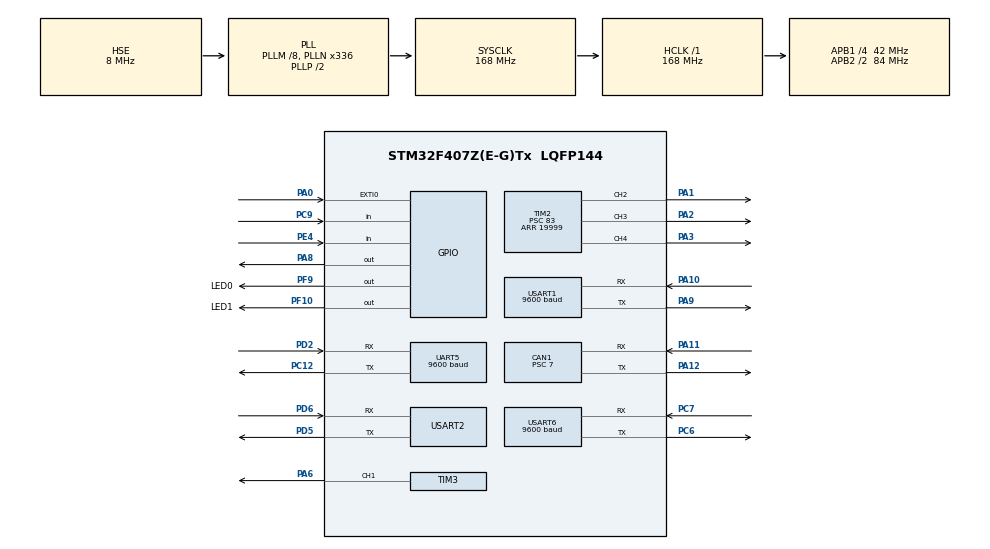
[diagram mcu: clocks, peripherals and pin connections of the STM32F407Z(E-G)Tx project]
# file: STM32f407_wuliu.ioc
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CAN1.BS1=CAN_BS1_9TQ
CAN1.BS2=CAN_BS2_2TQ
CAN1.CalculateBaudRate=499999
CAN1.CalculateTimeBit=2000
CAN1.CalculateTimeQuantum=166.66666666666669
CAN1.NART=ENABLE
CAN1.Prescaler=7
Mcu.Family=STM32F4
Mcu.Name=STM32F407Z(E-G)Tx
Mcu.Package=LQFP144
NVIC.CAN1_RX0_IRQn=true\:3\:0\:true\:false\:true\:true\:true\:true
NVIC.PriorityGroup=NVIC_PRIORITYGROUP_4
NVIC.TIM2_IRQn=true\:1\:0\:true\:false\:true\:true\:true\:true
NVIC.TIM4_IRQn=true\:0\:0\:false\:false\:true\:true\:true\:true
NVIC.TIM5_IRQn=true\:3\:0\:true\:false\:true\:true\:true\:true
NVIC.UART5_IRQn=true\:0\:0\:false\:false\:true\:true\:true\:true
NVIC.USART1_IRQn=true\:0\:0\:false\:false\:true\:true\:true\:true
NVIC.USART2_IRQn=true\:0\:0\:false\:false\:true\:true\:true\:true
NVIC.USART6_IRQn=true\:0\:0\:false\:false\:true\:true\:true\:true
PA0-WKUP.GPIO_PuPd=GPIO_PULLDOWN
PA0-WKUP.Signal=GPXTI0
PA1.Signal=S_TIM2_CH2
PA10.Mode=Asynchronous
PA10.Signal=USART1_RX
PA11.GPIO_PuPd=GPIO_PULLUP
PA11.Mode=CAN_Activate
PA11.Signal=CAN1_RX
PA12.Mode=CAN_Activate
PA12.Signal=CAN1_TX
PA13.Mode=Serial_Wire
PA13.Signal=SYS_JTMS-SWDIO
PA14.Mode=Serial_Wire
PA14.Signal=SYS_JTCK-SWCLK
PA2.Signal=S_TIM2_CH3
PA3.Signal=S_TIM2_CH4
PA6.Signal=S_TIM3_CH1
PA8.Signal=GPIO_Output
PA9.Mode=Asynchronous
PA9.Signal=USART1_TX
PC12.GPIO_PuPd=GPIO_PULLUP
PC12.Mode=Asynchronous
PC12.Signal=UART5_TX
PC6.GPIO_PuPd=GPIO_PULLUP
PC6.Mode=Asynchronous
PC6.Signal=USART6_TX
PC7.GPIO_PuPd=GPIO_PULLUP
PC7.Mode=Asynchronous
PC7.Signal=USART6_RX
PC9.GPIO_PuPd=GPIO_PULLUP
PC9.Signal=GPIO_Input
PD2.GPIO_PuPd=GPIO_PULLUP
PD2.Mode=Asynchronous
PD2.Signal=UART5_RX
PD5.GPIO_PuPd=GPIO_PULLUP
PD5.Mode=Asynchronous
PD5.Signal=USART2_TX
PD6.GPIO_PuPd=GPIO_PULLUP
PD6.Mode=Asynchronous
PD6.Signal=USART2_RX
PE4.Signal=GPIO_Input
PF10.GPIO_Label=LED1
PF10.GPIO_PuPd=GPIO_PULLUP
PF10.Signal=GPIO_Output
PF9.GPIO_Label=LED0
PF9.Signal=GPIO_Output
PH0-OSC_IN.Mode=HSE-External-Oscillator
PH0-OSC_IN.Signal=RCC_OSC_IN
PH1-OSC_OUT.Mode=HSE-External-Oscillator
PH1-OSC_OUT.Signal=RCC_OSC_OUT
ProjectManager.HeapSize=0x200
ProjectManager.StackSize=0x400
ProjectManager.TargetToolchain=CMake
RCC.48MHZClocksFreq_Value=84000000
RCC.AHBFreq_Value=168000000
RCC.APB1CLKDivider=RCC_HCLK_DIV4
RCC.APB1Freq_Value=42000000
RCC.APB1TimFreq_Value=84000000
RCC.APB2CLKDivider=RCC_HCLK_DIV2
RCC.APB2Freq_Value=84000000
RCC.APB2TimFreq_Value=168000000
RCC.CortexFreq_Value=168000000
RCC.EnbaleCSS=true
RCC.HCLKFreq_Value=168000000
RCC.HSE_VALUE=8000000
RCC.HSI_VALUE=16000000
RCC.LSE_VALUE=32768
RCC.PLLM=8
RCC.PLLN=336
RCC.PLLSourceVirtual=RCC_PLLSOURCE_HSE
RCC.SYSCLKFreq_VALUE=168000000
RCC.SYSCLKSource=RCC_SYSCLKSOURCE_PLLCLK
RCC.VCOOutputFreq_Value=336000000
SH.S_TIM2_CH2.0=TIM2_CH2,PWM Generation2 CH2
SH.S_TIM2_CH3.0=TIM2_CH3,PWM Generation3 CH3
SH.S_TIM2_CH4.0=TIM2_CH4,PWM Generation4 CH4
SH.S_TIM3_CH1.0=TIM3_CH1,PWM Generation1 CH1
TIM2.Channel-PWM\ Generation2\ CH2=TIM_CHANNEL_2
TIM2.Channel-PWM\ Generation3\ CH3=TIM_CHANNEL_3
TIM2.Channel-PWM\ Generation4\ CH4=TIM_CHANNEL_4
TIM2.Period=19999
TIM2.Prescaler=83
TIM2.Pulse-PWM\ Generation2\ CH2=520
TIM2.Pulse-PWM\ Generation3\ CH3=648
TIM2.Pulse-PWM\ Generation4\ CH4=838
TIM3.Channel-PWM\ Generation1\ CH1=TIM_CHANNEL_1
TIM3.Period=1999
TIM3.Prescaler=83
TIM4.Period=4999
TIM4.Prescaler=839
TIM5.Period=49999
TIM5.Prescaler=839
UART5.BaudRate=9600
UART5.VirtualMode=Asynchronous
USART1.BaudRate=9600
USART1.VirtualMode=VM_ASYNC
USART2.VirtualMode=VM_ASYNC
USART6.BaudRate=9600
USART6.VirtualMode=VM_ASYNC
VP_TIM2_VS_ClockSourceINT.Mode=Internal
VP_TIM3_VS_ClockSourceINT.Mode=Internal
VP_TIM4_VS_ClockSourceINT.Mode=Internal
VP_TIM5_VS_ClockSourceINT.Mode=Internal
VP_TIM6_VS_ClockSourceINT.Mode=Enable_Timer
board=custom

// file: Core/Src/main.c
/* USER CODE BEGIN Header */
/**
  ******************************************************************************
  * @file           : main.c
  * @brief          : Main program body
  ******************************************************************************
  * @attention
  *
  * Copyright (c) 2026 STMicroelectronics.
  * All rights reserved.
  *
  * This software is licensed under terms that can be found in the LICENSE file
  * in the root directory of this software component.
  * If no LICENSE file comes with this software, it is provided AS-IS.
  *
  ******************************************************************************
  */
/* USER CODE END Header */
#include "main.h"
#include "can.h"
#include "tim.h"
#include "usart.h"
#include "gpio.h"

/* USER CODE BEGIN Includes */
#include "host_proto.h"
#include "imu.h"
#include "motor_ack_test.h"
#include "race_chassis.h"
#include "race_io.h"
#include "race_task.h"
/* USER CODE END Includes */

void SystemClock_Config(void);

int main(void)
{

  /* MCU Configuration--------------------------------------------------------*/

  /* Reset of all peripherals, Initializes the Flash interface and the Systick. */
  HAL_Init();

  /* Configure the system clock */
  SystemClock_Config();

  /* Initialize all configured peripherals */
  MX_GPIO_Init();
  MX_CAN1_Init();
  MX_TIM2_Init();
  MX_TIM3_Init();
  MX_TIM4_Init();
  MX_TIM6_Init();
  MX_UART5_Init();
  MX_USART1_UART_Init();
  MX_USART2_UART_Init();
  MX_USART6_UART_Init();
  MX_TIM5_Init();
  /* USER CODE BEGIN 2 */
  HAL_GPIO_WritePin(LED0_GPIO_Port, LED0_Pin, GPIO_PIN_RESET);
  HAL_GPIO_WritePin(LED1_GPIO_Port, LED1_Pin, GPIO_PIN_SET);

  motor_ack_test_init();
  /* USER CODE END 2 */

  /* Infinite loop */
  while (1)
  {

    /* USER CODE BEGIN 3 */
    motor_ack_test_poll();
  }
  /* USER CODE END 3 */
}

void SystemClock_Config(void)
{
  RCC_OscInitTypeDef RCC_OscInitStruct = {0};
  RCC_ClkInitTypeDef RCC_ClkInitStruct = {0};

  /** Configure the main internal regulator output voltage
  */
  __HAL_RCC_PWR_CLK_ENABLE();
  __HAL_PWR_VOLTAGESCALING_CONFIG(PWR_REGULATOR_VOLTAGE_SCALE1);

  /** Initializes the RCC Oscillators according to the specified parameters
  * in the RCC_OscInitTypeDef structure.
  */
  RCC_OscInitStruct.OscillatorType = RCC_OSCILLATORTYPE_HSE;
  RCC_OscInitStruct.HSEState = RCC_HSE_ON;
  RCC_OscInitStruct.PLL.PLLState = RCC_PLL_ON;
  RCC_OscInitStruct.PLL.PLLSource = RCC_PLLSOURCE_HSE;
  RCC_OscInitStruct.PLL.PLLM = 8;
  RCC_OscInitStruct.PLL.PLLN = 336;
  RCC_OscInitStruct.PLL.PLLP = RCC_PLLP_DIV2;
  RCC_OscInitStruct.PLL.PLLQ = 4;
  if (HAL_RCC_OscConfig(&RCC_OscInitStruct) != HAL_OK)
  {
    Error_Handler();
  }

  /** Initializes the CPU, AHB and APB buses clocks
  */
  RCC_ClkInitStruct.ClockType = RCC_CLOCKTYPE_HCLK|RCC_CLOCKTYPE_SYSCLK
                              |RCC_CLOCKTYPE_PCLK1|RCC_CLOCKTYPE_PCLK2;
  RCC_ClkInitStruct.SYSCLKSource = RCC_SYSCLKSOURCE_PLLCLK;
  RCC_ClkInitStruct.AHBCLKDivider = RCC_SYSCLK_DIV1;
  RCC_ClkInitStruct.APB1CLKDivider = RCC_HCLK_DIV4;
  RCC_ClkInitStruct.APB2CLKDivider = RCC_HCLK_DIV2;

  if (HAL_RCC_ClockConfig(&RCC_ClkInitStruct, FLASH_LATENCY_5) != HAL_OK)
  {
    Error_Handler();
  }

  /** Enables the Clock Security System
  */
  HAL_RCC_EnableCSS();
}

/* USER CODE BEGIN 4 */
void HAL_UART_RxCpltCallback(UART_HandleTypeDef *huart)
{
  if (huart == &huart5)
  {
    motor_ack_test_uart_rx_callback(huart);
  }
  else if (huart == &HOST_UART)
  {
    host_isr_rx_cplt();
  }
  else if (huart == &huart2)
  {
    imu_uart2_rx_cplt();
  }
}

void HAL_CAN_RxFifo0MsgPendingCallback(CAN_HandleTypeDef *hcan)
{
  motor_ack_test_can_rx_callback(hcan);
}

void HAL_TIM_PeriodElapsedCallback(TIM_HandleTypeDef *htim)
{
  if (htim == &htim4)
  {
    race_chassis_tim4_callback();
  }
}

/* USER CODE END 4 */

void Error_Handler(void)
{
  __disable_irq();
  while (1)
  {
  }
}
#ifdef USE_FULL_ASSERT
/**
  * @brief  Reports the name of the source file and the source line number
  *         where the assert_param error has occurred.
  * @param  file: pointer to the source file name
  * @param  line: assert_param error line source number
  * @retval None
  */
void assert_failed(uint8_t *file, uint32_t line)
{
  /* USER CODE BEGIN 6 */
  /* User can add his own implementation to report the file name and line number,
     ex: printf("Wrong parameters value: file %s on line %d\r\n", file, line) */
  (void)file;
  (void)line;
  /* USER CODE END 6 */
}
#endif /* USE_FULL_ASSERT */
